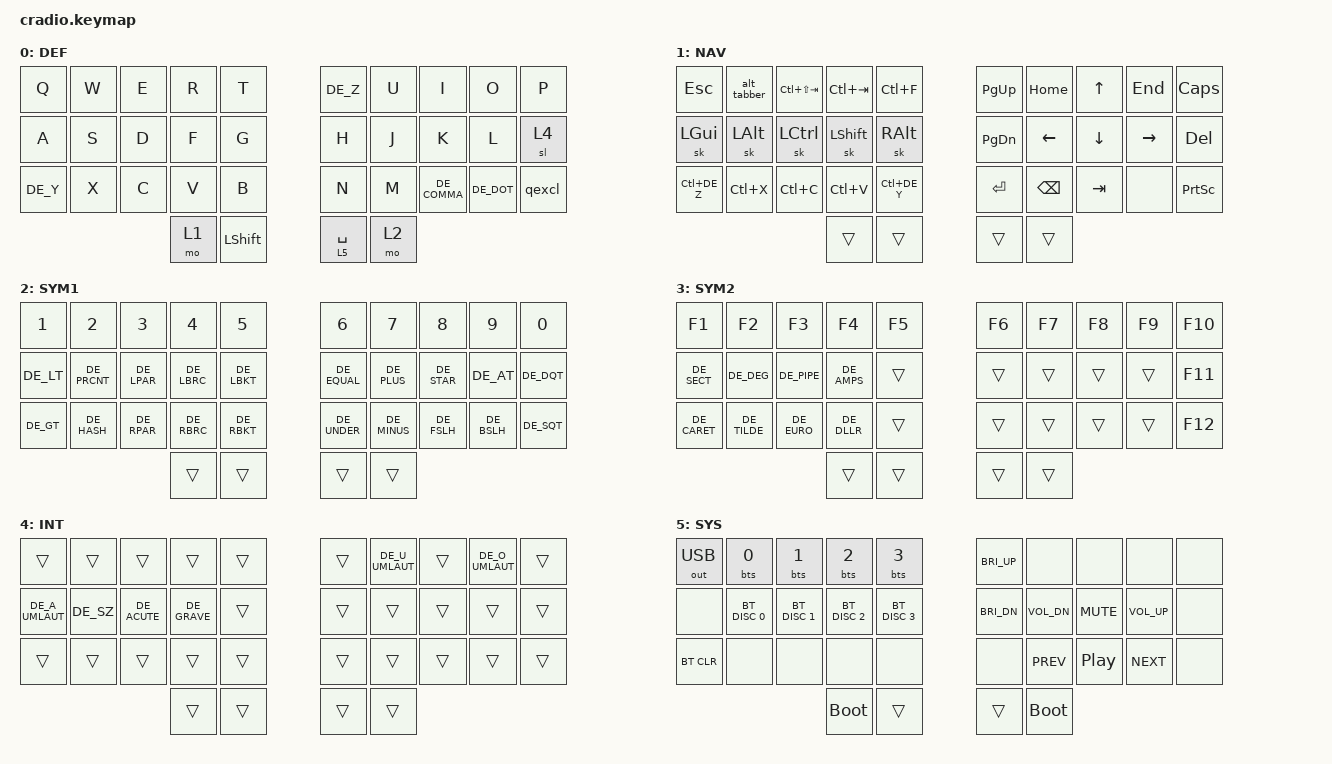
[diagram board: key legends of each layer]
#include <behaviors.dtsi>
#include <dt-bindings/zmk/bt.h>
#include <dt-bindings/zmk/keys.h>
#include <dt-bindings/zmk/outputs.h>

#ifndef KEYMAP_DRAWER
#include "keys_de.h"
#endif

&sk {
    lazy;
    quick-release;
    release-after-ms = <900>;
};

&lt {
    quick-tap-ms = <220>;
};

/ {
    behaviors {
        qexcl: qmark_excl {
            compatible = "zmk,behavior-mod-morph";
            display-name = "SM Qmark-Excl";
            #binding-cells = <0>;
            bindings = <&kp DE_QMARK>, <&kp DE_EXCL>;
            mods = <(MOD_LSFT|MOD_RSFT)>;
            keep-mods = <(MOD_RSFT)>;
        };

        alt_tabber: swapper {
            compatible = "zmk,behavior-tri-state";
            display-name = "Alt-Tabber";
            #binding-cells = <0>;
            bindings = <&kt LALT>, <&kp TAB>, <&kt LALT>;
            ignored-key-positions = <7 16 17 18>; // arrow keys
        };
    };

    macros {
        bts: bts {
            compatible = "zmk,behavior-macro-one-param";
            display-name = "BT Switch + Select";
            #binding-cells = <1>;
            bindings
                = <&out OUT_BLE>
                , <&macro_param_1to2>
                , <&bt BT_SEL MACRO_PLACEHOLDER>;
        };
    };

    conditional_layers {
        compatible = "zmk,conditional-layers";
        tri_layer {
            if-layers = <1 2>;
            then-layer = <3>;
        };
    };

    keymap {
        compatible = "zmk,keymap";
        default_layer {
            display-name = "DEF";
            bindings = <
                &kp Q      &kp W   &kp E   &kp R   &kp T          &kp DE_Z      &kp U   &kp I          &kp O        &kp P
                &kp A      &kp S   &kp D   &kp F   &kp G          &kp H         &kp J   &kp K          &kp L        &sl 4
                &kp DE_Y   &kp X   &kp C   &kp V   &kp B          &kp N         &kp M   &kp DE_COMMA   &kp DE_DOT   &qexcl
                                           &mo 1   &kp LSHFT      &lt 5 SPACE   &mo 2
            >;
        };

        navigation_layer {
            display-name = "NAV";
            bindings = <
                &kp ESC        &alt_tabber   &kp LC(LS(TAB))   &kp LC(TAB)   &kp LC(F)         &kp PG_UP   &kp HOME   &kp UP     &kp END     &kp CLCK
                &sk LGUI       &sk LALT      &sk LCTRL         &sk LSHFT     &sk RALT          &kp PG_DN   &kp LEFT   &kp DOWN   &kp RIGHT   &kp DEL
                &kp LC(DE_Z)   &kp LC(X)     &kp LC(C)         &kp LC(V)     &kp LC(DE_Y)      &kp RET     &kp BSPC   &kp TAB    &none       &kp PSCRN
                                                               &trans        &trans            &trans      &trans
            >;
        };

        symbol1_layer {
            display-name = "SYM1";
            bindings = <
                &kp N1      &kp N2         &kp N3        &kp N4        &kp N5           &kp N6         &kp N7         &kp N8        &kp N9        &kp N0
                &kp DE_LT   &kp DE_PRCNT   &kp DE_LPAR   &kp DE_LBRC   &kp DE_LBKT      &kp DE_EQUAL   &kp DE_PLUS    &kp DE_STAR   &kp DE_AT     &kp DE_DQT
                &kp DE_GT   &kp DE_HASH    &kp DE_RPAR   &kp DE_RBRC   &kp DE_RBKT      &kp DE_UNDER   &kp DE_MINUS   &kp DE_FSLH   &kp DE_BSLH   &kp DE_SQT
                                                         &trans        &trans           &trans         &trans
            >;
        };

        symbol2_layer {
            display-name = "SYM2";
            bindings = <
                &kp F1         &kp F2         &kp F3        &kp F4        &kp F5      &kp F6   &kp F7   &kp F8   &kp F9   &kp F10
                &kp DE_SECT    &kp DE_DEG     &kp DE_PIPE   &kp DE_AMPS   &trans      &trans   &trans   &trans   &trans   &kp F11
                &kp DE_CARET   &kp DE_TILDE   &kp DE_EURO   &kp DE_DLLR   &trans      &trans   &trans   &trans   &trans   &kp F12
                                              &trans        &trans        &trans      &trans
            >;
        };

        international_layer {
            display-name = "INT";
            bindings = <
                &trans      &trans      &trans         &trans         &trans      &trans   &kp DE_U_UMLAUT   &trans   &kp DE_O_UMLAUT   &trans
                &kp DE_A_UMLAUT   &kp DE_SZ   &kp DE_ACUTE   &kp DE_GRAVE   &trans      &trans   &trans      &trans   &trans      &trans
                &trans      &trans      &trans         &trans         &trans      &trans   &trans      &trans   &trans      &trans
                                        &trans         &trans         &trans      &trans
            >;
        };

        system_layer {
            display-name = "SYS";
            bindings = <
                &out OUT_USB   &bts 0          &bts 1          &bts 2          &bts 3             &kp C_BRI_UP   &none          &none        &none          &none 
                &none          &bt BT_DISC 0   &bt BT_DISC 1   &bt BT_DISC 2   &bt BT_DISC 3      &kp C_BRI_DN   &kp C_VOL_DN   &kp C_MUTE   &kp C_VOL_UP   &none 
                &bt BT_CLR     &none           &none           &none           &none              &none          &kp C_PREV     &kp C_PP     &kp C_NEXT     &none 
                                                               &bootloader     &trans             &trans         &bootloader
            >;
        };
    };
};
